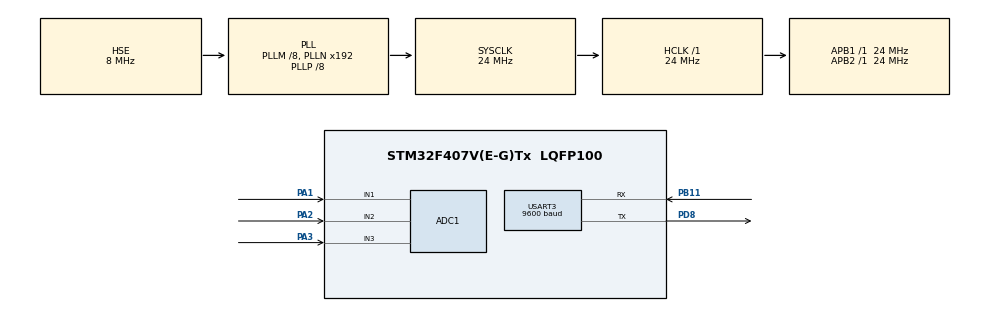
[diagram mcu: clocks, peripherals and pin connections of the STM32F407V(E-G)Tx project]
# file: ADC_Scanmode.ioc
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ADC1.Channel-0\#ChannelRegularConversion=ADC_CHANNEL_1
ADC1.Channel-2\#ChannelRegularConversion=ADC_CHANNEL_2
ADC1.Channel-3\#ChannelRegularConversion=ADC_CHANNEL_3
ADC1.ContinuousConvMode=ENABLE
ADC1.DMAContinuousRequests=ENABLE
ADC1.NbrOfConversion=3
ADC1.NbrOfConversionFlag=1
ADC1.Rank-0\#ChannelRegularConversion=1
ADC1.Rank-2\#ChannelRegularConversion=2
ADC1.Rank-3\#ChannelRegularConversion=3
ADC1.SamplingTime-0\#ChannelRegularConversion=ADC_SAMPLETIME_56CYCLES
ADC1.SamplingTime-2\#ChannelRegularConversion=ADC_SAMPLETIME_56CYCLES
ADC1.SamplingTime-3\#ChannelRegularConversion=ADC_SAMPLETIME_56CYCLES
ADC1.ScanConvMode=ENABLE
ADC1.master=1
Dma.ADC1.0.Direction=DMA_PERIPH_TO_MEMORY
Dma.ADC1.0.FIFOMode=DMA_FIFOMODE_DISABLE
Dma.ADC1.0.Instance=DMA2_Stream4
Dma.ADC1.0.MemDataAlignment=DMA_MDATAALIGN_HALFWORD
Dma.ADC1.0.MemInc=DMA_MINC_ENABLE
Dma.ADC1.0.Mode=DMA_CIRCULAR
Dma.ADC1.0.PeriphDataAlignment=DMA_PDATAALIGN_HALFWORD
Dma.ADC1.0.PeriphInc=DMA_PINC_DISABLE
Dma.ADC1.0.Priority=DMA_PRIORITY_LOW
Dma.Request0=ADC1
Mcu.Family=STM32F4
Mcu.Name=STM32F407V(E-G)Tx
Mcu.Package=LQFP100
NVIC.PriorityGroup=NVIC_PRIORITYGROUP_4
PA1.Signal=ADCx_IN1
PA13.Mode=Serial_Wire
PA13.Signal=SYS_JTMS-SWDIO
PA14.Mode=Serial_Wire
PA14.Signal=SYS_JTCK-SWCLK
PA2.Signal=ADCx_IN2
PA3.Signal=ADCx_IN3
PB11.GPIO_ModeDefaultPP=GPIO_MODE_AF_PP
PB11.GPIO_PuPd=GPIO_NOPULL
PB11.GPIO_Speed=GPIO_SPEED_FREQ_LOW
PB11.Mode=Asynchronous
PB11.Signal=USART3_RX
PD8.GPIO_Speed=GPIO_SPEED_FREQ_MEDIUM
PD8.Mode=Asynchronous
PD8.Signal=USART3_TX
PH0-OSC_IN.Mode=HSE-External-Oscillator
PH0-OSC_IN.Signal=RCC_OSC_IN
PH1-OSC_OUT.Mode=HSE-External-Oscillator
PH1-OSC_OUT.Signal=RCC_OSC_OUT
ProjectManager.HeapSize=0x200
ProjectManager.StackSize=0x400
ProjectManager.TargetToolchain=STM32CubeIDE
RCC.48MHZClocksFreq_Value=48000000
RCC.AHBFreq_Value=24000000
RCC.APB1Freq_Value=24000000
RCC.APB1TimFreq_Value=24000000
RCC.APB2Freq_Value=24000000
RCC.APB2TimFreq_Value=24000000
RCC.CortexFreq_Value=24000000
RCC.EnbaleCSS=true
RCC.HCLKFreq_Value=24000000
RCC.HSE_VALUE=8000000
RCC.HSI_VALUE=16000000
RCC.LSE_VALUE=32768
RCC.PLLM=8
RCC.PLLP=RCC_PLLP_DIV8
RCC.PLLSourceVirtual=RCC_PLLSOURCE_HSE
RCC.SYSCLKFreq_VALUE=24000000
RCC.SYSCLKSource=RCC_SYSCLKSOURCE_PLLCLK
RCC.VCOOutputFreq_Value=192000000
SH.ADCx_IN1.0=ADC1_IN1,IN1
SH.ADCx_IN2.0=ADC1_IN2,IN2
SH.ADCx_IN3.0=ADC1_IN3,IN3
USART3.BaudRate=9600
USART3.Mode=MODE_TX
USART3.VirtualMode=VM_ASYNC
board=custom

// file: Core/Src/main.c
/* USER CODE BEGIN Header */
/*This is an example of how to use ADC in Scan Mode with DMA
 * Microcontroller used was STM32F407VGT6
 */
/**
  ******************************************************************************
  * @file           : main.c
  * @brief          : Main program body
  ******************************************************************************
  * @attention
  *
  * Copyright (c) 2024 STMicroelectronics.
  * All rights reserved.
  *
  * This software is licensed under terms that can be found in the LICENSE file
  * in the root directory of this software component.
  * If no LICENSE file comes with this software, it is provided AS-IS.
  *
  ******************************************************************************
  */
/* USER CODE END Header */
#include "main.h"

/* USER CODE BEGIN Includes */
#include <stdio.h>
#include <string.h>

/* USER CODE END Includes */

ADC_HandleTypeDef hadc1;
DMA_HandleTypeDef hdma_adc1;

UART_HandleTypeDef huart3;

void SystemClock_Config(void);
static void MX_GPIO_Init(void);
static void MX_DMA_Init(void);
static void MX_ADC1_Init(void);
static void MX_USART3_UART_Init(void);

/* USER CODE BEGIN 0 */
#define ADC_CNV 3 //Number of conversions
uint16_t adc_values[ADC_CNV];
float adc_voltages[ADC_CNV];
char adc_cadena[50];

/* USER CODE END 0 */

int main(void)
{

  /* MCU Configuration--------------------------------------------------------*/

  /* Reset of all peripherals, Initializes the Flash interface and the Systick. */
  HAL_Init();

  /* Configure the system clock */
  SystemClock_Config();

  /* Initialize all configured peripherals */
  MX_GPIO_Init();
  MX_DMA_Init();
  MX_ADC1_Init();
  MX_USART3_UART_Init();
  /* USER CODE BEGIN 2 */

  //configure pin PB11 as Analog Input, cause we don't use it
  GPIO_InitTypeDef GPIO_InitStructure;

  GPIO_InitStructure.Pin = GPIO_PIN_11;
  GPIO_InitStructure.Mode = GPIO_MODE_ANALOG;
  GPIO_InitStructure.Pull = GPIO_NOPULL;

  HAL_GPIO_Init(GPIOB, &GPIO_InitStructure);

  //Set up ADC with memory array and begin conversion
  HAL_ADC_Start_DMA(&hadc1, (uint32_t*)&adc_values, ADC_CNV);

  /* USER CODE END 2 */

  /* Infinite loop */
  /* USER CODE BEGIN WHILE */
  while (1)
  {
	  //we get ADC conversions from ADC an turn to voltages

	  for(uint8_t i = 0; i < 3; i++)
	  {
		  adc_voltages[i] = (adc_values[i] * 3.3 ) / 4095;

	  }

	  //send trough USART3 ADC data
	  sprintf(adc_cadena, "Voltage CH1: %.3f, CH2 %.3f, CH3: %.3f\r\n", adc_voltages[0], adc_voltages[1], adc_voltages[2]);

	  HAL_UART_Transmit(&huart3, (uint8_t*)&adc_cadena, strlen(adc_cadena), 50);

    /* USER CODE END WHILE */

  }
}

void SystemClock_Config(void)
{
  RCC_OscInitTypeDef RCC_OscInitStruct = {0};
  RCC_ClkInitTypeDef RCC_ClkInitStruct = {0};

  /** Configure the main internal regulator output voltage
  */
  __HAL_RCC_PWR_CLK_ENABLE();
  __HAL_PWR_VOLTAGESCALING_CONFIG(PWR_REGULATOR_VOLTAGE_SCALE1);

  /** Initializes the RCC Oscillators according to the specified parameters
  * in the RCC_OscInitTypeDef structure.
  */
  RCC_OscInitStruct.OscillatorType = RCC_OSCILLATORTYPE_HSE;
  RCC_OscInitStruct.HSEState = RCC_HSE_ON;
  RCC_OscInitStruct.PLL.PLLState = RCC_PLL_ON;
  RCC_OscInitStruct.PLL.PLLSource = RCC_PLLSOURCE_HSE;
  RCC_OscInitStruct.PLL.PLLM = 8;
  RCC_OscInitStruct.PLL.PLLN = 192;
  RCC_OscInitStruct.PLL.PLLP = RCC_PLLP_DIV8;
  RCC_OscInitStruct.PLL.PLLQ = 4;
  if (HAL_RCC_OscConfig(&RCC_OscInitStruct) != HAL_OK)
  {
    Error_Handler();
  }

  /** Initializes the CPU, AHB and APB buses clocks
  */
  RCC_ClkInitStruct.ClockType = RCC_CLOCKTYPE_HCLK|RCC_CLOCKTYPE_SYSCLK
                              |RCC_CLOCKTYPE_PCLK1|RCC_CLOCKTYPE_PCLK2;
  RCC_ClkInitStruct.SYSCLKSource = RCC_SYSCLKSOURCE_PLLCLK;
  RCC_ClkInitStruct.AHBCLKDivider = RCC_SYSCLK_DIV1;
  RCC_ClkInitStruct.APB1CLKDivider = RCC_HCLK_DIV1;
  RCC_ClkInitStruct.APB2CLKDivider = RCC_HCLK_DIV1;

  if (HAL_RCC_ClockConfig(&RCC_ClkInitStruct, FLASH_LATENCY_0) != HAL_OK)
  {
    Error_Handler();
  }

  /** Enables the Clock Security System
  */
  HAL_RCC_EnableCSS();
}

static void MX_ADC1_Init(void)
{

  ADC_ChannelConfTypeDef sConfig = {0};

  /** Configure the global features of the ADC (Clock, Resolution, Data Alignment and number of conversion)
  */
  hadc1.Instance = ADC1;
  hadc1.Init.ClockPrescaler = ADC_CLOCK_SYNC_PCLK_DIV2;
  hadc1.Init.Resolution = ADC_RESOLUTION_12B;
  hadc1.Init.ScanConvMode = ENABLE;
  hadc1.Init.ContinuousConvMode = ENABLE;
  hadc1.Init.DiscontinuousConvMode = DISABLE;
  hadc1.Init.ExternalTrigConvEdge = ADC_EXTERNALTRIGCONVEDGE_NONE;
  hadc1.Init.ExternalTrigConv = ADC_SOFTWARE_START;
  hadc1.Init.DataAlign = ADC_DATAALIGN_RIGHT;
  hadc1.Init.NbrOfConversion = 3;
  hadc1.Init.DMAContinuousRequests = ENABLE;
  hadc1.Init.EOCSelection = ADC_EOC_SINGLE_CONV;
  if (HAL_ADC_Init(&hadc1) != HAL_OK)
  {
    Error_Handler();
  }

  /** Configure for the selected ADC regular channel its corresponding rank in the sequencer and its sample time.
  */
  sConfig.Channel = ADC_CHANNEL_1;
  sConfig.Rank = 1;
  sConfig.SamplingTime = ADC_SAMPLETIME_56CYCLES;
  if (HAL_ADC_ConfigChannel(&hadc1, &sConfig) != HAL_OK)
  {
    Error_Handler();
  }

  /** Configure for the selected ADC regular channel its corresponding rank in the sequencer and its sample time.
  */
  sConfig.Channel = ADC_CHANNEL_2;
  sConfig.Rank = 2;
  if (HAL_ADC_ConfigChannel(&hadc1, &sConfig) != HAL_OK)
  {
    Error_Handler();
  }

  /** Configure for the selected ADC regular channel its corresponding rank in the sequencer and its sample time.
  */
  sConfig.Channel = ADC_CHANNEL_3;
  sConfig.Rank = 3;
  if (HAL_ADC_ConfigChannel(&hadc1, &sConfig) != HAL_OK)
  {
    Error_Handler();
  }

}

static void MX_USART3_UART_Init(void)
{

  huart3.Instance = USART3;
  huart3.Init.BaudRate = 9600;
  huart3.Init.WordLength = UART_WORDLENGTH_8B;
  huart3.Init.StopBits = UART_STOPBITS_1;
  huart3.Init.Parity = UART_PARITY_NONE;
  huart3.Init.Mode = UART_MODE_TX;
  huart3.Init.HwFlowCtl = UART_HWCONTROL_NONE;
  huart3.Init.OverSampling = UART_OVERSAMPLING_16;
  if (HAL_UART_Init(&huart3) != HAL_OK)
  {
    Error_Handler();
  }

}

static void MX_DMA_Init(void)
{

  /* DMA controller clock enable */
  __HAL_RCC_DMA2_CLK_ENABLE();

}

static void MX_GPIO_Init(void)
{
  GPIO_InitTypeDef GPIO_InitStruct = {0};

  /* GPIO Ports Clock Enable */
  __HAL_RCC_GPIOE_CLK_ENABLE();
  __HAL_RCC_GPIOC_CLK_ENABLE();
  __HAL_RCC_GPIOH_CLK_ENABLE();
  __HAL_RCC_GPIOA_CLK_ENABLE();
  __HAL_RCC_GPIOB_CLK_ENABLE();
  __HAL_RCC_GPIOD_CLK_ENABLE();

  /*Configure GPIO pins : PE2 PE3 PE4 PE5
                           PE6 PE7 PE8 PE9
                           PE10 PE11 PE12 PE13
                           PE14 PE15 PE0 PE1 */
  GPIO_InitStruct.Pin = GPIO_PIN_2|GPIO_PIN_3|GPIO_PIN_4|GPIO_PIN_5
                          |GPIO_PIN_6|GPIO_PIN_7|GPIO_PIN_8|GPIO_PIN_9
                          |GPIO_PIN_10|GPIO_PIN_11|GPIO_PIN_12|GPIO_PIN_13
                          |GPIO_PIN_14|GPIO_PIN_15|GPIO_PIN_0|GPIO_PIN_1;
  GPIO_InitStruct.Mode = GPIO_MODE_ANALOG;
  GPIO_InitStruct.Pull = GPIO_NOPULL;
  HAL_GPIO_Init(GPIOE, &GPIO_InitStruct);

  /*Configure GPIO pins : PC13 PC14 PC15 PC0
                           PC1 PC2 PC3 PC4
                           PC5 PC6 PC7 PC8
                           PC9 PC10 PC11 PC12 */
  GPIO_InitStruct.Pin = GPIO_PIN_13|GPIO_PIN_14|GPIO_PIN_15|GPIO_PIN_0
                          |GPIO_PIN_1|GPIO_PIN_2|GPIO_PIN_3|GPIO_PIN_4
                          |GPIO_PIN_5|GPIO_PIN_6|GPIO_PIN_7|GPIO_PIN_8
                          |GPIO_PIN_9|GPIO_PIN_10|GPIO_PIN_11|GPIO_PIN_12;
  GPIO_InitStruct.Mode = GPIO_MODE_ANALOG;
  GPIO_InitStruct.Pull = GPIO_NOPULL;
  HAL_GPIO_Init(GPIOC, &GPIO_InitStruct);

  /*Configure GPIO pins : PA0 PA4 PA5 PA6
                           PA7 PA8 PA9 PA10
                           PA11 PA12 PA15 */
  GPIO_InitStruct.Pin = GPIO_PIN_0|GPIO_PIN_4|GPIO_PIN_5|GPIO_PIN_6
                          |GPIO_PIN_7|GPIO_PIN_8|GPIO_PIN_9|GPIO_PIN_10
                          |GPIO_PIN_11|GPIO_PIN_12|GPIO_PIN_15;
  GPIO_InitStruct.Mode = GPIO_MODE_ANALOG;
  GPIO_InitStruct.Pull = GPIO_NOPULL;
  HAL_GPIO_Init(GPIOA, &GPIO_InitStruct);

  /*Configure GPIO pins : PB0 PB1 PB2 PB10
                           PB12 PB13 PB14 PB15
                           PB3 PB4 PB5 PB6
                           PB7 PB8 PB9 */
  GPIO_InitStruct.Pin = GPIO_PIN_0|GPIO_PIN_1|GPIO_PIN_2|GPIO_PIN_10
                          |GPIO_PIN_12|GPIO_PIN_13|GPIO_PIN_14|GPIO_PIN_15
                          |GPIO_PIN_3|GPIO_PIN_4|GPIO_PIN_5|GPIO_PIN_6
                          |GPIO_PIN_7|GPIO_PIN_8|GPIO_PIN_9;
  GPIO_InitStruct.Mode = GPIO_MODE_ANALOG;
  GPIO_InitStruct.Pull = GPIO_NOPULL;
  HAL_GPIO_Init(GPIOB, &GPIO_InitStruct);

  /*Configure GPIO pins : PD9 PD10 PD11 PD12
                           PD13 PD14 PD15 PD0
                           PD1 PD2 PD3 PD4
                           PD5 PD6 PD7 */
  GPIO_InitStruct.Pin = GPIO_PIN_9|GPIO_PIN_10|GPIO_PIN_11|GPIO_PIN_12
                          |GPIO_PIN_13|GPIO_PIN_14|GPIO_PIN_15|GPIO_PIN_0
                          |GPIO_PIN_1|GPIO_PIN_2|GPIO_PIN_3|GPIO_PIN_4
                          |GPIO_PIN_5|GPIO_PIN_6|GPIO_PIN_7;
  GPIO_InitStruct.Mode = GPIO_MODE_ANALOG;
  GPIO_InitStruct.Pull = GPIO_NOPULL;
  HAL_GPIO_Init(GPIOD, &GPIO_InitStruct);

}

void Error_Handler(void)
{
  __disable_irq();
  while (1)
  {
  }
}
